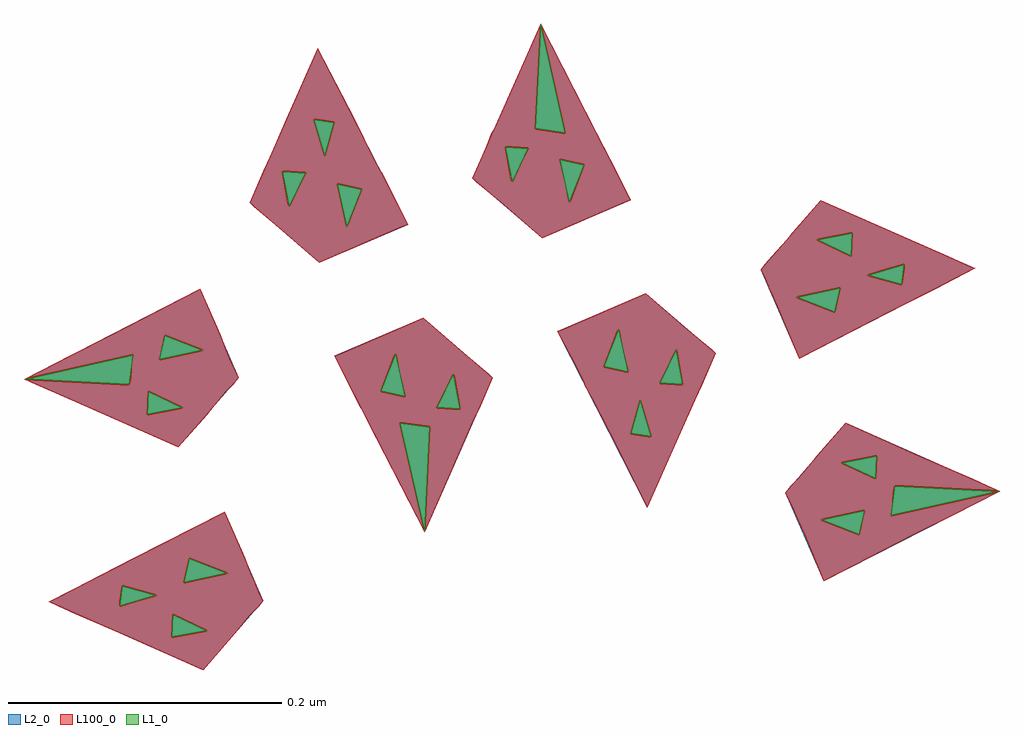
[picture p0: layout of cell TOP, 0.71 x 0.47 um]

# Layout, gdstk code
import gdstk
lib = gdstk.Library(unit=1e-6, precision=1e-09)
def P(c, l, *ps):  # polygons
    for p in ps: c.add(gdstk.Polygon(p, *l))
L1_0 = (1, 0)
L2_0 = (2, 0)
L100_0 = (100, 0)

top = lib.new_cell('TOP')
P(top, L1_0, [(-0.81,1.3),(-0.817,1.332),(-0.799,1.328)],
  [(-0.647,1.318),(-0.654,1.35),(-0.636,1.346)],
  [(-0.929,1.04),(-0.925,1.058),(-0.897,1.047)],
  [(-0.947,1.203),(-0.943,1.221),(-0.915,1.21)],
  [(-0.767,1.176),(-0.785,1.18),(-0.774,1.208)],
  [(-0.604,1.194),(-0.622,1.198),(-0.611,1.226)],
  [(-0.852,1.315),(-0.857,1.341),(-0.84,1.34)],
  [(-0.689,1.333),(-0.694,1.359),(-0.677,1.358)],
  [(-0.423,1.116),(-0.448,1.128),(-0.422,1.133)],
  [(-0.441,1.279),(-0.466,1.291),(-0.44,1.296)],
  [(-0.753,1.077),(-0.771,1.157),(-0.749,1.154)],
  [(-0.969,1.185),(-1.046,1.189),(-0.966,1.207)],
  [(-0.435,1.075),(-0.463,1.086),(-0.431,1.093)],
  [(-0.453,1.238),(-0.481,1.249),(-0.449,1.256)],
  [(-0.412,1.089),(-0.409,1.111),(-0.332,1.107)],
  [(-0.826,1.352),(-0.834,1.379),(-0.819,1.377)],
  [(-0.587,1.147),(-0.602,1.149),(-0.595,1.174)],
  [(-0.727,1.167),(-0.744,1.168),(-0.732,1.193)],
  [(-0.564,1.185),(-0.581,1.186),(-0.569,1.211)],
  [(-0.65,1.369),(-0.672,1.372),(-0.668,1.449)],
  [(-0.938,1),(-0.937,1.017),(-0.912,1.005)],
  [(-0.956,1.163),(-0.955,1.18),(-0.93,1.168)],
  [(-0.404,1.258),(-0.429,1.265),(-0.402,1.273)],
  [(-0.976,1.023),(-0.974,1.038),(-0.949,1.031)])
P(top, L2_0, [(-0.83,1.274),(-0.881,1.318),(-0.831,1.431),(-0.765,1.302)],
  [(-0.667,1.292),(-0.718,1.336),(-0.668,1.449),(-0.602,1.32)],
  [(-0.753,1.077),(-0.819,1.206),(-0.754,1.234),(-0.703,1.19)],
  [(-0.59,1.095),(-0.656,1.224),(-0.591,1.252),(-0.54,1.208)],
  [(-0.461,1.041),(-0.489,1.106),(-0.445,1.157),(-0.332,1.107)],
  [(-0.479,1.204),(-0.507,1.269),(-0.463,1.32),(-0.35,1.27)],
  [(-0.915,0.976),(-1.028,1.026),(-0.899,1.092),(-0.871,1.027)],
  [(-0.933,1.139),(-1.046,1.189),(-0.917,1.255),(-0.889,1.19)])
P(top, L100_0, [(-0.499,1.279),(-0.488,1.291),(-0.466,1.291),(-0.441,1.279)],
  [(-0.912,1.005),(-0.937,1.017),(-0.88,1.017),(-0.89,1.005)],
  [(-0.93,1.168),(-0.955,1.18),(-0.898,1.18),(-0.908,1.168)],
  [(-0.915,0.976),(-0.969,1),(-0.894,1)],
  [(-0.933,1.139),(-0.987,1.163),(-0.912,1.163)],
  [(-0.753,1.077),(-0.794,1.157),(-0.771,1.157)],
  [(-0.475,1.075),(-0.48,1.086),(-0.463,1.086),(-0.435,1.075)],
  [(-0.493,1.238),(-0.498,1.249),(-0.481,1.249),(-0.453,1.238)],
  [(-0.749,1.154),(-0.771,1.157),(-0.718,1.157),(-0.719,1.154)],
  [(-0.83,1.274),(-0.86,1.3),(-0.77,1.3)],
  [(-0.667,1.292),(-0.697,1.318),(-0.607,1.318)],
  [(-0.708,1.359),(-0.704,1.369),(-0.627,1.369),(-0.622,1.359)],
  [(-1.026,1.18),(-1.037,1.185),(-0.893,1.185),(-0.898,1.18)],
  [(-0.799,1.328),(-0.817,1.332),(-0.78,1.332),(-0.778,1.328)],
  [(-0.636,1.346),(-0.654,1.35),(-0.617,1.35),(-0.615,1.346)],
  [(-0.402,1.27),(-0.402,1.273),(-0.357,1.273),(-0.35,1.27)],
  [(-0.806,1.18),(-0.819,1.206),(-0.775,1.206),(-0.785,1.18)],
  [(-0.897,1.047),(-0.925,1.058),(-0.884,1.058),(-0.88,1.047)],
  [(-0.915,1.21),(-0.943,1.221),(-0.902,1.221),(-0.898,1.21)],
  [(-0.64,1.194),(-0.642,1.198),(-0.622,1.198),(-0.604,1.194)],
  [(-0.59,1.095),(-0.616,1.147),(-0.567,1.147)],
  [(-0.866,1.352),(-0.854,1.379),(-0.834,1.379),(-0.826,1.352)],
  [(-0.63,1.174),(-0.636,1.185),(-0.55,1.185),(-0.555,1.174)],
  [(-0.332,1.107),(-0.409,1.111),(-0.341,1.111)],
  [(-1.005,1.038),(-1.001,1.04),(-0.877,1.04),(-0.876,1.038)],
  [(-0.702,1.372),(-0.668,1.449),(-0.672,1.372)],
  [(-0.483,1.093),(-0.489,1.106),(-0.41,1.106),(-0.411,1.093)],
  [(-0.505,1.265),(-0.507,1.269),(-0.416,1.269),(-0.429,1.265)],
  [(-0.704,1.369),(-0.702,1.372),(-0.672,1.372),(-0.65,1.369)],
  [(-1.046,1.189),(-1.011,1.207),(-0.966,1.207)],
  [(-0.804,1.176),(-0.806,1.18),(-0.785,1.18),(-0.767,1.176)],
  [(-0.504,1.273),(-0.499,1.279),(-0.37,1.279),(-0.357,1.273)],
  [(-0.968,1.19),(-0.967,1.203),(-0.895,1.203),(-0.889,1.19)],
  [(-0.809,1.302),(-0.799,1.328),(-0.778,1.328),(-0.765,1.302)],
  [(-0.646,1.32),(-0.636,1.346),(-0.615,1.346),(-0.602,1.32)],
  [(-0.642,1.198),(-0.656,1.224),(-0.612,1.224),(-0.622,1.198)],
  [(-0.983,1.221),(-0.917,1.255),(-0.902,1.221)],
  [(-0.794,1.157),(-0.799,1.167),(-0.713,1.167),(-0.718,1.157)],
  [(-0.47,1.128),(-0.466,1.133),(-0.422,1.133),(-0.448,1.128)],
  [(-0.488,1.291),(-0.484,1.296),(-0.44,1.296),(-0.466,1.291)],
  [(-0.489,1.106),(-0.485,1.111),(-0.409,1.111),(-0.41,1.106)],
  [(-0.753,1.077),(-0.749,1.154),(-0.719,1.154)],
  [(-0.881,1.318),(-0.871,1.341),(-0.857,1.341),(-0.853,1.318)],
  [(-0.718,1.336),(-0.708,1.359),(-0.694,1.359),(-0.69,1.336)],
  [(-0.871,1.341),(-0.866,1.352),(-0.791,1.352),(-0.785,1.341)],
  [(-0.432,1.089),(-0.431,1.093),(-0.411,1.093),(-0.412,1.089)],
  [(-0.967,1.203),(-0.966,1.207),(-0.946,1.207),(-0.947,1.203)],
  [(-0.814,1.208),(-0.754,1.234),(-0.724,1.208)],
  [(-0.651,1.226),(-0.591,1.252),(-0.561,1.226)],
  [(-0.65,1.369),(-0.668,1.449),(-0.627,1.369)],
  [(-0.938,1),(-0.912,1.005),(-0.89,1.005),(-0.894,1)],
  [(-0.956,1.163),(-0.93,1.168),(-0.908,1.168),(-0.912,1.163)],
  [(-0.485,1.111),(-0.48,1.116),(-0.352,1.116),(-0.341,1.111)],
  [(-0.969,1.185),(-0.968,1.19),(-0.889,1.19),(-0.893,1.185)],
  [(-0.727,1.167),(-0.731,1.19),(-0.703,1.19),(-0.713,1.167)],
  [(-0.564,1.185),(-0.568,1.208),(-0.54,1.208),(-0.55,1.185)],
  [(-0.617,1.149),(-0.63,1.174),(-0.595,1.174),(-0.602,1.149)],
  [(-0.963,1.027),(-0.949,1.031),(-0.873,1.031),(-0.871,1.027)],
  [(-0.969,1),(-1.008,1.017),(-0.937,1.017),(-0.938,1)],
  [(-0.987,1.163),(-1.026,1.18),(-0.955,1.18),(-0.956,1.163)],
  [(-0.771,1.193),(-0.774,1.208),(-0.724,1.208),(-0.706,1.193)],
  [(-0.608,1.211),(-0.611,1.226),(-0.561,1.226),(-0.543,1.211)],
  [(-0.423,1.116),(-0.422,1.133),(-0.391,1.133),(-0.352,1.116)],
  [(-0.441,1.279),(-0.44,1.296),(-0.409,1.296),(-0.37,1.279)],
  [(-1.037,1.185),(-1.046,1.189),(-0.969,1.185)],
  [(-0.453,1.238),(-0.449,1.256),(-0.377,1.256),(-0.413,1.238)],
  [(-1.021,1.023),(-1.028,1.026),(-0.976,1.026),(-0.976,1.023)],
  [(-0.826,1.352),(-0.819,1.377),(-0.803,1.377),(-0.791,1.352)],
  [(-0.976,1.023),(-0.963,1.027),(-0.871,1.027),(-0.874,1.023)],
  [(-0.501,1.256),(-0.502,1.258),(-0.373,1.258),(-0.377,1.256)],
  [(-0.86,1.3),(-0.878,1.315),(-0.813,1.315),(-0.81,1.3)],
  [(-0.697,1.318),(-0.715,1.333),(-0.65,1.333),(-0.647,1.318)],
  [(-0.435,1.075),(-0.432,1.089),(-0.367,1.089),(-0.395,1.075)],
  [(-1.011,1.207),(-0.983,1.221),(-0.943,1.221),(-0.946,1.207)],
  [(-0.8,1.168),(-0.804,1.176),(-0.74,1.176),(-0.744,1.168)],
  [(-0.854,1.379),(-0.831,1.431),(-0.804,1.379)],
  [(-0.819,1.377),(-0.834,1.379),(-0.804,1.379),(-0.803,1.377)],
  [(-0.852,1.315),(-0.844,1.332),(-0.817,1.332),(-0.813,1.315)],
  [(-0.689,1.333),(-0.681,1.35),(-0.654,1.35),(-0.65,1.333)],
  [(-0.767,1.176),(-0.771,1.193),(-0.732,1.193),(-0.74,1.176)],
  [(-0.604,1.194),(-0.608,1.211),(-0.569,1.211),(-0.577,1.194)],
  [(-0.587,1.147),(-0.595,1.174),(-0.555,1.174),(-0.567,1.147)],
  [(-0.636,1.185),(-0.636,1.186),(-0.581,1.186),(-0.564,1.185)],
  [(-0.966,1.058),(-0.899,1.092),(-0.884,1.058)],
  [(-0.466,1.133),(-0.445,1.157),(-0.391,1.133)],
  [(-0.484,1.296),(-0.463,1.32),(-0.409,1.296)],
  [(-0.878,1.315),(-0.881,1.318),(-0.853,1.318),(-0.852,1.315)],
  [(-0.715,1.333),(-0.718,1.336),(-0.69,1.336),(-0.689,1.333)],
  [(-0.81,1.3),(-0.809,1.302),(-0.765,1.302),(-0.77,1.3)],
  [(-0.647,1.318),(-0.646,1.32),(-0.602,1.32),(-0.607,1.318)],
  [(-0.404,1.258),(-0.402,1.27),(-0.35,1.27),(-0.373,1.258)],
  [(-0.844,1.332),(-0.84,1.34),(-0.784,1.34),(-0.78,1.332)],
  [(-0.681,1.35),(-0.677,1.358),(-0.621,1.358),(-0.617,1.35)],
  [(-0.48,1.086),(-0.483,1.093),(-0.431,1.093),(-0.463,1.086)],
  [(-0.498,1.249),(-0.501,1.256),(-0.449,1.256),(-0.481,1.249)],
  [(-1.028,1.026),(-1.005,1.038),(-0.974,1.038),(-0.976,1.026)],
  [(-0.461,1.041),(-0.475,1.075),(-0.395,1.075)],
  [(-0.479,1.204),(-0.493,1.238),(-0.413,1.238)],
  [(-0.412,1.089),(-0.332,1.107),(-0.367,1.089)],
  [(-0.929,1.04),(-0.897,1.047),(-0.88,1.047),(-0.877,1.04)],
  [(-0.947,1.203),(-0.915,1.21),(-0.898,1.21),(-0.895,1.203)],
  [(-0.636,1.186),(-0.64,1.194),(-0.577,1.194),(-0.581,1.186)],
  [(-0.502,1.258),(-0.505,1.265),(-0.429,1.265),(-0.404,1.258)],
  [(-0.616,1.147),(-0.617,1.149),(-0.602,1.149),(-0.587,1.147)],
  [(-0.949,1.031),(-0.974,1.038),(-0.876,1.038),(-0.873,1.031)],
  [(-0.819,1.206),(-0.814,1.208),(-0.774,1.208),(-0.775,1.206)],
  [(-0.656,1.224),(-0.651,1.226),(-0.611,1.226),(-0.612,1.224)],
  [(-0.84,1.34),(-0.857,1.341),(-0.785,1.341),(-0.784,1.34)],
  [(-0.677,1.358),(-0.694,1.359),(-0.622,1.359),(-0.621,1.358)],
  [(-1.001,1.04),(-0.966,1.058),(-0.925,1.058),(-0.929,1.04)],
  [(-0.799,1.167),(-0.8,1.168),(-0.744,1.168),(-0.727,1.167)],
  [(-0.507,1.269),(-0.504,1.273),(-0.402,1.273),(-0.416,1.269)],
  [(-0.48,1.116),(-0.47,1.128),(-0.448,1.128),(-0.423,1.116)],
  [(-0.731,1.19),(-0.732,1.193),(-0.706,1.193),(-0.703,1.19)],
  [(-0.568,1.208),(-0.569,1.211),(-0.543,1.211),(-0.54,1.208)],
  [(-1.008,1.017),(-1.021,1.023),(-0.874,1.023),(-0.88,1.017)])

lib.write_gds('TOP.gds')
